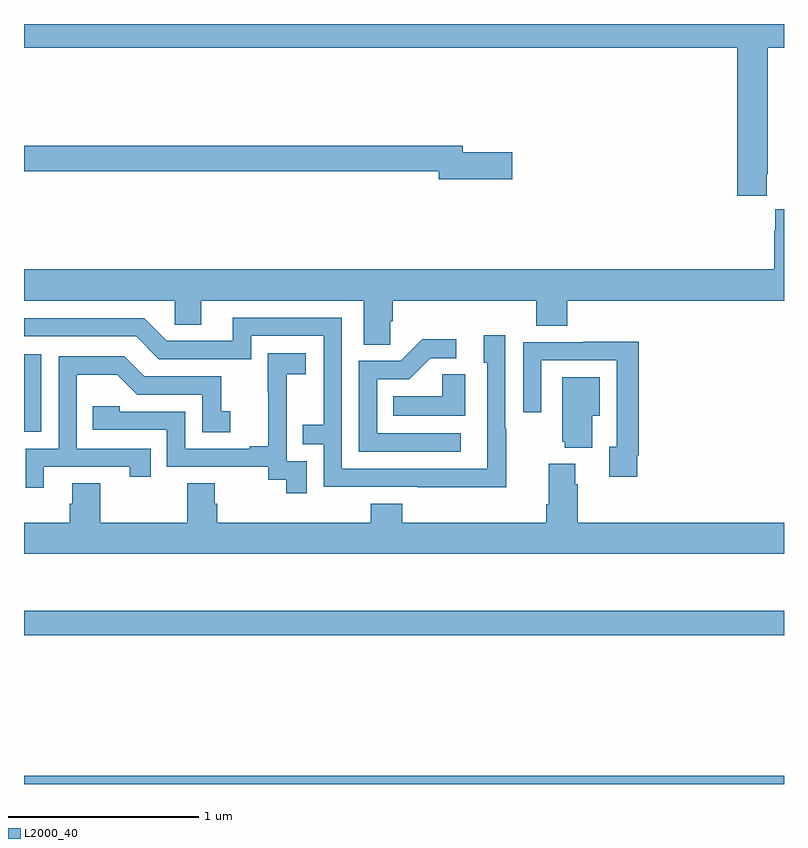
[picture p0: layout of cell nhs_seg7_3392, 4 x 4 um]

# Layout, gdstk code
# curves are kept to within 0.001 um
import gdstk
lib = gdstk.Library(unit=1e-6, precision=1e-09)
def R(c, l, rs):  # rectangles x0, y0, x1, y1
    for r in rs: c.add(gdstk.rectangle(r[:2], r[2:], *l))
def P(c, l, *ps):  # polygons
    for p in ps: c.add(gdstk.Polygon(p, *l))
L2000_40 = (2000, 40)

nhs_seg7_3392 = lib.new_cell('nhs_seg7_3392')
R(nhs_seg7_3392, L2000_40, [(325,1070,329,1070.044), (325,1070.782,329,1070.911), (325,1071.855,325.092,1072.261)])
P(nhs_seg7_3392, L2000_40, [(328.909,1073.209),(328.914,1073.209),(328.914,1073.876),(329,1073.876),(329,1074),(325,1074),(325,1073.876),(328.754,1073.876),(328.754,1073.097),(328.909,1073.097)],
  [(327.571,1073.324),(327.31,1073.324),(327.31,1073.36),(325,1073.36),(325,1073.224),(327.182,1073.224),(327.182,1073.182),(327.571,1073.182)],
  [(326.928,1072.435),(326.942,1072.435),(326.942,1072.544),(327.695,1072.544),(327.695,1072.411),(327.86,1072.411),(327.86,1072.544),(329,1072.544),(329,1073.026),(328.955,1073.026),(328.955,1072.913),(328.949,1072.913),(328.949,1072.708),(325,1072.708),(325,1072.544),(325.794,1072.544),(325.794,1072.417),(325.933,1072.417),(325.933,1072.544),(326.789,1072.544),(326.789,1072.312),(326.928,1072.312)],
  [(327.537,1071.869),(327.534,1071.869),(327.534,1072.363),(327.419,1072.363),(327.419,1072.218),(327.438,1072.218),(327.438,1071.66),(326.673,1071.66),(326.673,1072.455),(326.099,1072.455),(326.099,1072.332),(325.752,1072.332),(325.632,1072.452),(325,1072.452),(325,1072.356),(325.59,1072.356),(325.71,1072.236),(326.196,1072.236),(326.196,1072.359),(326.577,1072.359),(326.577,1071.89),(326.467,1071.89),(326.467,1071.789),(326.577,1071.789),(326.577,1071.564),(327.537,1071.563)],
  [(327.298,1071.846),(326.859,1071.846),(326.859,1072.131),(327.028,1072.131),(327.139,1072.242),(327.274,1072.242),(327.274,1072.34),(327.095,1072.34),(326.982,1072.227),(326.763,1072.227),(326.763,1071.75),(327.298,1071.75)],
  [(328.228,1071.73),(328.235,1071.73),(328.235,1072.328),(327.943,1072.328),(327.943,1072.326),(327.627,1072.326),(327.627,1071.957),(327.723,1071.957),(327.723,1072.23),(328.119,1072.23),(328.119,1071.774),(328.079,1071.774),(328.079,1071.618),(328.228,1071.618)],
  [(326.487,1071.699),(326.382,1071.699),(326.382,1071.929),(326.384,1071.929),(326.384,1072.157),(326.482,1072.157),(326.482,1072.267),(326.284,1072.267),(326.284,1072.061),(326.285,1072.061),(326.285,1071.778),(326.189,1071.778),(326.189,1071.765),(325.848,1071.765),(325.848,1071.96),(325.503,1071.96),(325.503,1071.987),(325.363,1071.987),(325.363,1071.864),(325.752,1071.864),(325.752,1071.669),(326.286,1071.669),(326.286,1071.601),(326.379,1071.601),(326.379,1071.531),(326.487,1071.531)],
  [(325.105,1071.669),(325.556,1071.669),(325.556,1071.618),(325.667,1071.618),(325.667,1071.765),(325.278,1071.765),(325.278,1072.154),(325.492,1072.154),(325.596,1072.05),(325.938,1072.05),(325.938,1071.852),(326.086,1071.852),(326.086,1071.961),(326.037,1071.961),(326.037,1072.146),(325.633,1072.146),(325.528,1072.251),(325.182,1072.251),(325.182,1071.765),(325.008,1071.765),(325.008,1071.558),(325.105,1071.558)],
  [(327.322,1072.157),(327.201,1072.157),(327.201,1072.042),(326.944,1072.042),(326.944,1071.938),(327.322,1071.938)],
  [(327.991,1071.938),(328.03,1071.938),(328.03,1072.141),(327.833,1072.141),(327.833,1071.801),(327.845,1071.801),(327.845,1071.77),(327.991,1071.77)],
  [(329,1071.376),(327.914,1071.376),(327.914,1071.578),(327.901,1071.578),(327.901,1071.685),(327.761,1071.685),(327.761,1071.472),(327.749,1071.472),(327.749,1071.376),(326.99,1071.376),(326.99,1071.475),(326.825,1071.475),(326.825,1071.376),(326.018,1071.376),(326.018,1071.474),(326.005,1071.474),(326.005,1071.584),(325.858,1071.584),(325.858,1071.376),(325.401,1071.376),(325.401,1071.584),(325.253,1071.584),(325.253,1071.474),(325.241,1071.474),(325.241,1071.376),(325,1071.376),(325,1071.212),(329,1071.212)])

lib.write_gds('nhs_seg7_3392.gds')
